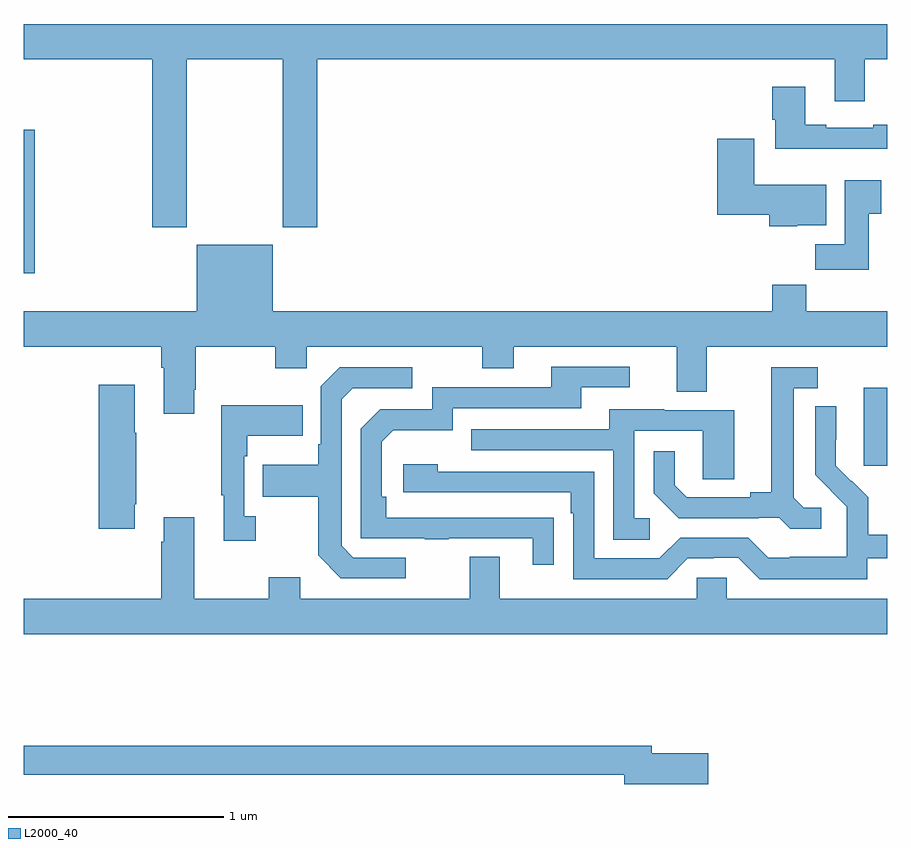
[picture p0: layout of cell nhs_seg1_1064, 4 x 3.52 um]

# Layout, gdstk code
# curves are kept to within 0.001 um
import gdstk
lib = gdstk.Library(unit=1e-6, precision=1e-09)
def R(c, l, rs):  # rectangles x0, y0, x1, y1
    for r in rs: c.add(gdstk.rectangle(r[:2], r[2:], *l))
def P(c, l, *ps):  # polygons
    for p in ps: c.add(gdstk.Polygon(p, *l))
L2000_40 = (2000, 40)

nhs_seg1_1064 = lib.new_cell('nhs_seg1_1064')
R(nhs_seg1_1064, L2000_40, [(172.892,533.865,173,534.226), (169,534.756,169.049,535.423)])
P(nhs_seg1_1064, L2000_40, [(169.755,535.748),(170.2,535.748),(170.2,534.969),(170.36,534.969),(170.36,535.748),(172.757,535.748),(172.757,535.554),(172.897,535.554),(172.897,535.748),(173,535.748),(173,535.912),(169,535.912),(169,535.748),(169.595,535.748),(169.595,534.969),(169.755,534.969)],
  [(173,535.444),(172.937,535.444),(172.937,535.431),(172.717,535.431),(172.717,535.444),(172.621,535.444),(172.621,535.621),(172.469,535.621),(172.469,535.468),(172.481,535.468),(172.481,535.334),(173,535.334)],
  [(172.584,534.98),(172.717,534.98),(172.717,535.168),(172.384,535.168),(172.384,535.381),(172.214,535.381),(172.214,535.028),(172.454,535.028),(172.454,534.974),(172.584,534.974)],
  [(172.915,535.033),(172.972,535.033),(172.972,535.189),(172.805,535.189),(172.805,534.892),(172.666,534.892),(172.666,534.774),(172.915,534.774)],
  [(169.789,534.217),(169.797,534.217),(169.797,534.416),(170.164,534.416),(170.164,534.317),(170.31,534.317),(170.31,534.416),(171.124,534.416),(171.124,534.317),(171.271,534.317),(171.271,534.416),(172.025,534.416),(172.025,534.208),(172.165,534.208),(172.165,534.416),(173,534.416),(173,534.58),(172.625,534.58),(172.625,534.704),(172.469,534.704),(172.469,534.58),(170.152,534.58),(170.152,534.889),(169.802,534.889),(169.802,534.58),(169,534.58),(169,534.416),(169.637,534.416),(169.637,534.32),(169.649,534.32),(169.649,534.105),(169.789,534.105)],
  [(171.455,533.624),(170.678,533.625),(170.678,533.722),(170.658,533.722),(170.658,533.976),(170.711,534.029),(170.988,534.029),(170.988,534.132),(171.583,534.132),(171.583,534.228),(171.808,534.228),(171.808,534.324),(171.443,534.324),(171.443,534.228),(170.892,534.228),(170.892,534.126),(170.652,534.126),(170.562,534.036),(170.562,533.529),(170.857,533.529),(170.857,533.524),(170.969,533.524),(170.969,533.529),(171.359,533.529),(171.359,533.406),(171.455,533.406)],
  [(172.696,533.67),(172.614,533.67),(172.567,533.717),(172.567,534.225),(172.678,534.225),(172.678,534.321),(172.463,534.321),(172.463,533.741),(172.367,533.741),(172.367,533.718),(172.072,533.718),(172.015,533.775),(172.015,533.932),(171.918,533.932),(171.918,533.738),(172.034,533.622),(172.406,533.622),(172.406,533.625),(172.5,533.625),(172.552,533.573),(172.696,533.573)],
  [(170.77,533.439),(170.526,533.439),(170.472,533.493),(170.472,534.174),(170.523,534.225),(170.8,534.225),(170.8,534.321),(170.463,534.321),(170.376,534.234),(170.376,533.965),(170.364,533.965),(170.364,533.869),(170.107,533.869),(170.107,533.722),(170.364,533.722),(170.364,533.449),(170.469,533.343),(170.77,533.343)],
  [(169.513,533.686),(169.521,533.686),(169.521,534.017),(169.513,534.017),(169.513,534.241),(169.346,534.241),(169.346,533.574),(169.513,533.574)],
  [(170.074,533.63),(170.022,533.63),(170.022,533.909),(170.035,533.909),(170.035,534.005),(170.291,534.005),(170.291,534.145),(169.914,534.145),(169.914,533.729),(169.925,533.729),(169.925,533.517),(170.074,533.517)],
  [(172.908,533.436),(173,533.436),(173,533.545),(172.913,533.545),(172.913,533.719),(172.836,533.796),(172.833,533.793),(172.763,533.864),(172.764,534.14),(172.668,534.14),(172.668,533.822),(172.814,533.674),(172.814,533.577),(172.812,533.577),(172.812,533.443),(172.549,533.443),(172.549,533.439),(172.449,533.439),(172.356,533.532),(172.041,533.532),(171.945,533.436),(171.642,533.436),(171.642,533.838),(170.918,533.838),(170.918,533.872),(170.757,533.872),(170.757,533.742),(171.533,533.742),(171.533,533.645),(171.546,533.645),(171.546,533.34),(171.981,533.34),(172.077,533.436),(172.196,533.436),(172.196,533.439),(172.311,533.439),(172.411,533.339),(172.908,533.339)],
  [(171.901,533.622),(171.828,533.622),(171.828,534.027),(172.146,534.027),(172.146,533.803),(172.291,533.803),(172.291,534.123),(171.967,534.123),(171.967,534.127),(171.713,534.127),(171.713,534.033),(171.073,534.033),(171.073,533.937),(171.732,533.937),(171.732,533.521),(171.901,533.521)],
  [(173,533.248),(172.257,533.248),(172.257,533.346),(172.119,533.346),(172.119,533.248),(171.205,533.248),(171.205,533.443),(171.065,533.443),(171.065,533.248),(170.281,533.248),(170.281,533.347),(170.134,533.347),(170.134,533.248),(169.789,533.248),(169.789,533.626),(169.649,533.626),(169.649,533.513),(169.637,533.513),(169.637,533.248),(169,533.248),(169,533.084),(173,533.084)],
  [(172.171,532.532),(171.91,532.532),(171.91,532.568),(169,532.568),(169,532.432),(171.782,532.432),(171.782,532.39),(172.171,532.39)])

lib.write_gds('nhs_seg1_1064.gds')
